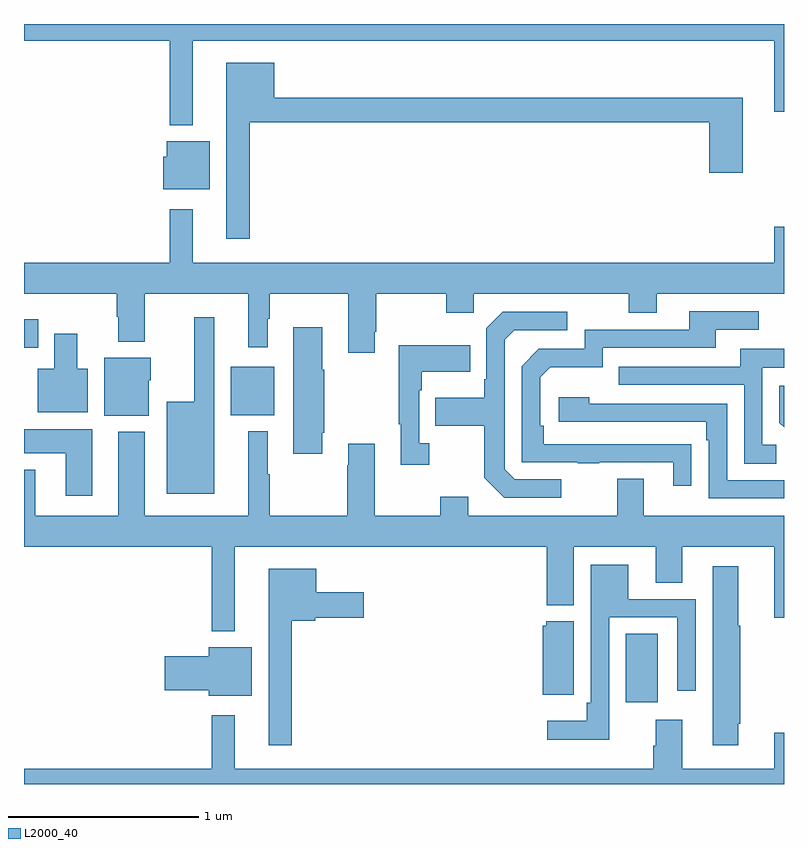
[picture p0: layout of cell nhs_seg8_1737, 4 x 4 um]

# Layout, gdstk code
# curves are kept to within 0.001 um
import gdstk
lib = gdstk.Library(unit=1e-6, precision=1e-09)
def R(c, l, rs):  # rectangles x0, y0, x1, y1
    for r in rs: c.add(gdstk.rectangle(r[:2], r[2:], *l))
def P(c, l, *ps):  # polygons
    for p in ps: c.add(gdstk.Polygon(p, *l))
L2000_40 = (2000, 40)

nhs_seg8_1737 = lib.new_cell('nhs_seg8_1737')
R(nhs_seg8_1737, L2000_40, [(224.168,1134.33,224.335,1134.692), (222.089,1135.841,222.316,1136.095), (221,1136.195,221.074,1136.347)])
P(nhs_seg8_1737, L2000_40, [(221.887,1137.812),(224.948,1137.812),(224.948,1137.438),(225,1137.438),(225,1137.9),(221,1137.9),(221,1137.812),(221.766,1137.812),(221.766,1137.368),(221.887,1137.368)],
  [(222.187,1137.382),(224.606,1137.382),(224.606,1137.117),(224.784,1137.117),(224.784,1137.511),(222.316,1137.511),(222.316,1137.697),(222.065,1137.697),(222.065,1136.769),(222.187,1136.769)],
  [(221.977,1137.283),(221.75,1137.283),(221.75,1137.201),(221.732,1137.201),(221.732,1137.029),(221.977,1137.029)],
  [(222.847,1136.281),(222.855,1136.281),(222.855,1136.48),(223.222,1136.48),(223.222,1136.381),(223.368,1136.381),(223.368,1136.48),(224.182,1136.48),(224.182,1136.381),(224.329,1136.381),(224.329,1136.48),(225,1136.48),(225,1136.833),(224.948,1136.833),(224.948,1136.644),(221.887,1136.644),(221.887,1136.926),(221.766,1136.926),(221.766,1136.644),(221,1136.644),(221,1136.48),(221.488,1136.48),(221.488,1136.36),(221.495,1136.36),(221.495,1136.228),(221.635,1136.228),(221.635,1136.48),(222.179,1136.48),(222.179,1136.199),(222.283,1136.199),(222.283,1136.348),(222.293,1136.348),(222.293,1136.48),(222.707,1136.48),(222.707,1136.169),(222.847,1136.169)],
  [(224.513,1135.688),(223.736,1135.689),(223.736,1135.786),(223.716,1135.786),(223.716,1136.04),(223.769,1136.093),(224.046,1136.093),(224.046,1136.196),(224.641,1136.196),(224.641,1136.292),(224.866,1136.292),(224.866,1136.388),(224.501,1136.388),(224.501,1136.292),(223.95,1136.292),(223.95,1136.19),(223.71,1136.19),(223.62,1136.1),(223.62,1135.593),(223.915,1135.593),(223.915,1135.588),(224.027,1135.588),(224.027,1135.593),(224.417,1135.593),(224.417,1135.47),(224.513,1135.47)],
  [(223.828,1135.503),(223.584,1135.503),(223.53,1135.557),(223.53,1136.238),(223.581,1136.289),(223.858,1136.289),(223.858,1136.385),(223.521,1136.385),(223.434,1136.298),(223.434,1136.029),(223.422,1136.029),(223.422,1135.933),(223.165,1135.933),(223.165,1135.786),(223.422,1135.786),(223.422,1135.513),(223.527,1135.407),(223.828,1135.407)],
  [(222.001,1136.356),(221.897,1136.356),(221.897,1135.912),(221.75,1135.912),(221.75,1135.427),(222.001,1135.427)],
  [(222.571,1135.75),(222.579,1135.75),(222.579,1136.081),(222.571,1136.081),(222.571,1136.305),(222.416,1136.305),(222.416,1135.638),(222.571,1135.638)],
  [(221.335,1136.086),(221.281,1136.086),(221.281,1136.269),(221.159,1136.269),(221.159,1136.086),(221.072,1136.086),(221.072,1135.856),(221.335,1135.856)],
  [(223.132,1135.694),(223.08,1135.694),(223.08,1135.973),(223.093,1135.973),(223.093,1136.069),(223.349,1136.069),(223.349,1136.209),(222.972,1136.209),(222.972,1135.793),(222.983,1135.793),(222.983,1135.581),(223.132,1135.581)],
  [(224.959,1135.686),(224.886,1135.686),(224.886,1136.091),(225,1136.091),(225,1136.191),(224.771,1136.191),(224.771,1136.097),(224.131,1136.097),(224.131,1136.001),(224.79,1136.001),(224.79,1135.585),(224.959,1135.585)],
  [(221.656,1136.025),(221.668,1136.025),(221.668,1136.143),(221.423,1136.143),(221.423,1135.838),(221.656,1135.838)],
  [(225,1135.996),(224.976,1135.996),(224.976,1135.802),(225,1135.778)],
  [(225,1135.5),(224.7,1135.5),(224.7,1135.902),(223.976,1135.902),(223.976,1135.936),(223.815,1135.936),(223.815,1135.806),(224.591,1135.806),(224.591,1135.709),(224.604,1135.709),(224.604,1135.404),(225,1135.404)],
  [(221.359,1135.768),(221,1135.768),(221,1135.64),(221.219,1135.64),(221.219,1135.416),(221.359,1135.416)],
  [(222.109,1135.148),(223.751,1135.148),(223.751,1134.842),(223.894,1134.842),(223.894,1135.148),(224.324,1135.148),(224.324,1134.958),(224.464,1134.958),(224.464,1135.148),(224.948,1135.148),(224.948,1134.774),(225,1134.774),(225,1135.312),(224.263,1135.312),(224.263,1135.507),(224.123,1135.507),(224.123,1135.312),(223.339,1135.312),(223.339,1135.411),(223.192,1135.411),(223.192,1135.312),(222.847,1135.312),(222.847,1135.69),(222.707,1135.69),(222.707,1135.577),(222.7,1135.577),(222.7,1135.312),(222.293,1135.312),(222.293,1135.529),(222.283,1135.529),(222.283,1135.756),(222.179,1135.756),(222.179,1135.312),(221.635,1135.312),(221.635,1135.753),(221.495,1135.753),(221.495,1135.312),(221.059,1135.312),(221.059,1135.555),(221,1135.555),(221,1135.148),(221.988,1135.148),(221.988,1134.704),(222.109,1134.704)],
  [(224.079,1134.777),(224.439,1134.777),(224.439,1134.39),(224.535,1134.39),(224.535,1134.873),(224.179,1134.873),(224.179,1135.054),(223.983,1135.054),(223.983,1134.328),(223.963,1134.328),(223.963,1134.232),(223.755,1134.232),(223.755,1134.134),(224.079,1134.134)],
  [(224.758,1134.217),(224.771,1134.217),(224.771,1134.732),(224.758,1134.732),(224.758,1135.045),(224.624,1135.045),(224.624,1134.105),(224.758,1134.105)],
  [(222.409,1134.758),(222.534,1134.758),(222.534,1134.776),(222.787,1134.776),(222.787,1134.91),(222.538,1134.91),(222.538,1135.033),(222.287,1135.033),(222.287,1134.105),(222.409,1134.105)],
  [(223.894,1134.757),(223.749,1134.757),(223.749,1134.732),(223.73,1134.732),(223.73,1134.371),(223.894,1134.371)],
  [(222.199,1134.619),(221.972,1134.619),(221.972,1134.572),(221.742,1134.572),(221.742,1134.394),(221.972,1134.394),(221.972,1134.365),(222.199,1134.365)],
  [(225,1134.169),(224.948,1134.169),(224.948,1133.98),(224.464,1133.98),(224.464,1134.238),(224.324,1134.238),(224.324,1134.101),(224.312,1134.101),(224.312,1133.98),(222.109,1133.98),(222.109,1134.262),(221.988,1134.262),(221.988,1133.98),(221,1133.98),(221,1133.9),(225,1133.9)])

lib.write_gds('nhs_seg8_1737.gds')
